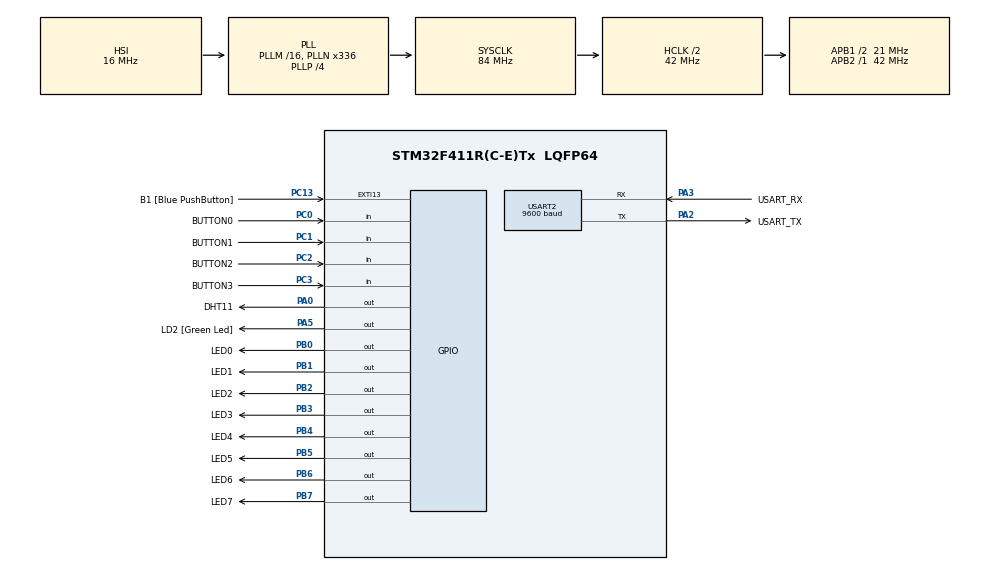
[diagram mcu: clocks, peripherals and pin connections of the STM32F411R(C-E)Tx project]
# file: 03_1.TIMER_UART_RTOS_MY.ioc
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FREERTOS.Tasks01=defaultTask,24,128,StartDefaultTask,Default,NULL,Dynamic,NULL,NULL;myTask01,8,128,StartTask01,Default,NULL,Dynamic,NULL,NULL;myTask02,8,128,StartTask02,Default,NULL,Dynamic,NULL,NULL
FREERTOS.configUSE_NEWLIB_REENTRANT=1
Mcu.Family=STM32F4
Mcu.Name=STM32F411R(C-E)Tx
Mcu.Package=LQFP64
NVIC.PriorityGroup=NVIC_PRIORITYGROUP_4
NVIC.TIM1_TRG_COM_TIM11_IRQn=true\:5\:0\:false\:false\:true\:false\:false\:true
NVIC.TIM1_UP_TIM10_IRQn=true\:5\:0\:false\:false\:true\:true\:true\:true
NVIC.TIM3_IRQn=true\:5\:0\:false\:false\:true\:true\:true\:true
NVIC.TimeBase=TIM1_TRG_COM_TIM11_IRQn
NVIC.TimeBaseIP=TIM11
NVIC.USART2_IRQn=true\:5\:0\:false\:false\:true\:true\:true\:true
PA0-WKUP.GPIO_Label=DHT11
PA0-WKUP.Signal=GPIO_Output
PA13.GPIO_Label=TMS
PA13.Mode=Serial_Wire
PA13.Signal=SYS_JTMS-SWDIO
PA14.GPIO_Label=TCK
PA14.Mode=Serial_Wire
PA14.Signal=SYS_JTCK-SWCLK
PA2.GPIO_Label=USART_TX
PA2.Mode=Asynchronous
PA2.Signal=USART2_TX
PA3.GPIO_Label=USART_RX
PA3.Mode=Asynchronous
PA3.Signal=USART2_RX
PA5.GPIO_Label=LD2 [Green Led]
PA5.Signal=GPIO_Output
PB0.GPIO_Label=LED0
PB0.Signal=GPIO_Output
PB1.GPIO_Label=LED1
PB1.Signal=GPIO_Output
PB2.GPIO_Label=LED2
PB2.Signal=GPIO_Output
PB3.GPIO_Label=LED3
PB3.Signal=GPIO_Output
PB4.GPIO_Label=LED4
PB4.Signal=GPIO_Output
PB5.GPIO_Label=LED5
PB5.Signal=GPIO_Output
PB6.GPIO_Label=LED6
PB6.Signal=GPIO_Output
PB7.GPIO_Label=LED7
PB7.Signal=GPIO_Output
PC0.GPIO_Label=BUTTON0
PC0.Signal=GPIO_Input
PC1.GPIO_Label=BUTTON1
PC1.Signal=GPIO_Input
PC13-ANTI_TAMP.GPIO_Label=B1 [Blue PushButton]
PC13-ANTI_TAMP.GPIO_ModeDefaultEXTI=GPIO_MODE_IT_FALLING
PC13-ANTI_TAMP.Signal=GPXTI13
PC14-OSC32_IN.Mode=LSE-External-Oscillator
PC14-OSC32_IN.Signal=RCC_OSC32_IN
PC15-OSC32_OUT.Mode=LSE-External-Oscillator
PC15-OSC32_OUT.Signal=RCC_OSC32_OUT
PC2.GPIO_Label=BUTTON2
PC2.Signal=GPIO_Input
PC3.GPIO_Label=BUTTON3
PC3.Signal=GPIO_Input
PH0\ -\ OSC_IN.Mode=HSE-External-Clock-Source
PH0\ -\ OSC_IN.Signal=RCC_OSC_IN
PH1\ -\ OSC_OUT.Mode=HSE-External-Clock-Source
PH1\ -\ OSC_OUT.Signal=RCC_OSC_OUT
ProjectManager.HeapSize=0x200
ProjectManager.StackSize=0x400
ProjectManager.TargetToolchain=STM32CubeIDE
RCC.48MHZClocksFreq_Value=84000000
RCC.AHBCLKDivider=RCC_SYSCLK_DIV2
RCC.AHBFreq_Value=42000000
RCC.APB1CLKDivider=RCC_HCLK_DIV2
RCC.APB1Freq_Value=21000000
RCC.APB1TimFreq_Value=42000000
RCC.APB2Freq_Value=42000000
RCC.APB2TimFreq_Value=42000000
RCC.CortexFreq_Value=42000000
RCC.FLatency-AdvancedSettings=FLASH_LATENCY_1
RCC.HCLKFreq_Value=42000000
RCC.HSE_VALUE=8000000
RCC.HSI_VALUE=16000000
RCC.PLLN=336
RCC.PLLP=RCC_PLLP_DIV4
RCC.SYSCLKFreq_VALUE=84000000
RCC.SYSCLKSource=RCC_SYSCLKSOURCE_PLLCLK
RCC.VCOOutputFreq_Value=336000000
TIM10.Period=1000-1
TIM10.Prescaler=84-1
TIM2.Period=4294967295
TIM2.Prescaler=84-1
TIM3.AutoReloadPreload=TIM_AUTORELOAD_PRELOAD_DISABLE
TIM3.Period=10-1
TIM3.Prescaler=42000-1
USART2.BaudRate=9600
USART2.VirtualMode=VM_ASYNC
VP_FREERTOS_VS_CMSIS_V2.Mode=CMSIS_V2
VP_SYS_VS_tim11.Mode=TIM11
VP_TIM10_VS_ClockSourceINT.Mode=Enable_Timer
VP_TIM2_VS_ClockSourceINT.Mode=Internal
VP_TIM3_VS_ClockSourceINT.Mode=Internal
board=NUCLEO-F411RE

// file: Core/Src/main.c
/* USER CODE BEGIN Header */
/**
  ******************************************************************************
  * @file           : main.c
  * @brief          : Main program body
  ******************************************************************************
  * @attention
  *
  * <h2><center>&copy; Copyright (c) 2024 STMicroelectronics.
  * All rights reserved.</center></h2>
  *
  * This software component is licensed by ST under BSD 3-Clause license,
  * the "License"; You may not use this file except in compliance with the
  * License. You may obtain a copy of the License at:
  *                        opensource.org/licenses/BSD-3-Clause
  *
  ******************************************************************************
  */
/* USER CODE END Header */
#include "main.h"
#include "cmsis_os.h"

TIM_HandleTypeDef htim2;
TIM_HandleTypeDef htim3;
TIM_HandleTypeDef htim10;

UART_HandleTypeDef huart2;

/* Definitions for defaultTask */
osThreadId_t defaultTaskHandle;
const osThreadAttr_t defaultTask_attributes = {
  .name = "defaultTask",
  .stack_size = 128 * 4,
  .priority = (osPriority_t) osPriorityNormal,
};
/* Definitions for myTask01 */
osThreadId_t myTask01Handle;
const osThreadAttr_t myTask01_attributes = {
  .name = "myTask01",
  .stack_size = 128 * 4,
  .priority = (osPriority_t) osPriorityLow,
};
/* Definitions for myTask02 */
osThreadId_t myTask02Handle;
const osThreadAttr_t myTask02_attributes = {
  .name = "myTask02",
  .stack_size = 128 * 4,
  .priority = (osPriority_t) osPriorityLow,
};
/* USER CODE BEGIN PV */
volatile int TIM10_1ms_counter = 0; //ADD_HAESUNG_09.30
volatile int TIM10_1ms_counter1 = 0;
volatile int TIM10_DHT11_counter = 0; // 10.08
volatile int TIM3_10ms_counter = 0; //10.16
//volatile unsigned int timer_ms = 0; // 타이머 카운트 변수

uint8_t rx_data;
/* USER CODE END PV */

void SystemClock_Config(void);
static void MX_GPIO_Init(void);
static void MX_USART2_UART_Init(void);
static void MX_TIM10_Init(void);
static void MX_TIM2_Init(void);
static void MX_TIM3_Init(void);
void StartDefaultTask(void *argument);
void StartTask01(void *argument);
void StartTask02(void *argument);

/* USER CODE BEGIN PFP */
extern void led_main(void);
extern void ledbar0_toggle(void);
//extern void button_check(void);
extern void button_up(void);
extern void button0_test(void);
extern void button1_test(void);
extern void button2_test(void);
extern void pc_command_processing(void); //10.07
extern void delay_us(unsigned int us); //10.08
extern void DHT11_main(void); //10.08
extern void DHT11_processing(void); //10.08
extern void DHT11_Init(void);
extern void led_on_down();
/* USER CODE END PFP */

/* USER CODE BEGIN 0 */
//------------ printf start -----------------------
#ifdef __GNUC__    // Add for printf
/* With GCC, small printf (option LD Linker->Libraries->Small printf
   set to 'Yes') calls __io_putchar() */
#define PUTCHAR_PROTOTYPE int __io_putchar(int ch)
#else
#define PUTCHAR_PROTOTYPE int fputc(int ch, FILE *f)
#endif /* __GNUC__ */
/**
  * @brief  Retargets the C library printf function to the USART.
  * @param  None
  * @retval None
  */
PUTCHAR_PROTOTYPE   // Add for printf
{
  /* Place your implementation of fputc here */
  /* e.g. write a character to the USART2 and Loop until the end of transmission */
  HAL_UART_Transmit(&huart2, (uint8_t *)&ch, 1, 0xFFFF);

  return ch;
}
//-------------------- printf end --------------------
/* USER CODE END 0 */

int main(void)
{

  /* MCU Configuration--------------------------------------------------------*/

  /* Reset of all peripherals, Initializes the Flash interface and the Systick. */
  HAL_Init();

  /* Configure the system clock */
  SystemClock_Config();

  /* Initialize all configured peripherals */
  MX_GPIO_Init();
  MX_USART2_UART_Init();
  MX_TIM10_Init();
  MX_TIM2_Init();
  MX_TIM3_Init();
  /* USER CODE BEGIN 2 */
  HAL_TIM_Base_Start_IT(&htim10); //ADD_HAESUNG_0930
  HAL_TIM_Base_Start_IT(&htim2); //ADD_HAESUNG_1008
  HAL_TIM_Base_Start_IT(&htim3); //ADD_HAESUNG_1016
  //HAL_UART_Receive_IT(&huart2, &rx_data, 1); //ADD_HAESUNG_1007
  //DHT11_Init();
  //printf("HAL_TIM_Base_Start_IT !!!!\n");
  //DHT11_main(); //10.08
  //led_main();
  //timer_call_back_function();

  /* USER CODE END 2 */

  /* Init scheduler */
  osKernelInitialize();

  /* Create the thread(s) */
  /* creation of defaultTask */
  defaultTaskHandle = osThreadNew(StartDefaultTask, NULL, &defaultTask_attributes);

  /* creation of myTask01 */
  myTask01Handle = osThreadNew(StartTask01, NULL, &myTask01_attributes);

  /* creation of myTask02 */
  myTask02Handle = osThreadNew(StartTask02, NULL, &myTask02_attributes);

  /* Start scheduler */
  osKernelStart();

  /* We should never get here as control is now taken by the scheduler */
  /* Infinite loop */
  /* USER CODE BEGIN WHILE */
  while (1)
  {
	  // none-OS loop monitor
	  HAL_GPIO_TogglePin(GPIOA, GPIO_PIN_5);
	  HAL_Delay(500);
    /* USER CODE END WHILE */

  }
}

void SystemClock_Config(void)
{
  RCC_OscInitTypeDef RCC_OscInitStruct = {0};
  RCC_ClkInitTypeDef RCC_ClkInitStruct = {0};

  /** Configure the main internal regulator output voltage
  */
  __HAL_RCC_PWR_CLK_ENABLE();
  __HAL_PWR_VOLTAGESCALING_CONFIG(PWR_REGULATOR_VOLTAGE_SCALE1);
  /** Initializes the RCC Oscillators according to the specified parameters
  * in the RCC_OscInitTypeDef structure.
  */
  RCC_OscInitStruct.OscillatorType = RCC_OSCILLATORTYPE_HSI;
  RCC_OscInitStruct.HSIState = RCC_HSI_ON;
  RCC_OscInitStruct.HSICalibrationValue = RCC_HSICALIBRATION_DEFAULT;
  RCC_OscInitStruct.PLL.PLLState = RCC_PLL_ON;
  RCC_OscInitStruct.PLL.PLLSource = RCC_PLLSOURCE_HSI;
  RCC_OscInitStruct.PLL.PLLM = 16;
  RCC_OscInitStruct.PLL.PLLN = 336;
  RCC_OscInitStruct.PLL.PLLP = RCC_PLLP_DIV4;
  RCC_OscInitStruct.PLL.PLLQ = 4;
  if (HAL_RCC_OscConfig(&RCC_OscInitStruct) != HAL_OK)
  {
    Error_Handler();
  }
  /** Initializes the CPU, AHB and APB buses clocks
  */
  RCC_ClkInitStruct.ClockType = RCC_CLOCKTYPE_HCLK|RCC_CLOCKTYPE_SYSCLK
                              |RCC_CLOCKTYPE_PCLK1|RCC_CLOCKTYPE_PCLK2;
  RCC_ClkInitStruct.SYSCLKSource = RCC_SYSCLKSOURCE_PLLCLK;
  RCC_ClkInitStruct.AHBCLKDivider = RCC_SYSCLK_DIV2;
  RCC_ClkInitStruct.APB1CLKDivider = RCC_HCLK_DIV2;
  RCC_ClkInitStruct.APB2CLKDivider = RCC_HCLK_DIV1;

  if (HAL_RCC_ClockConfig(&RCC_ClkInitStruct, FLASH_LATENCY_1) != HAL_OK)
  {
    Error_Handler();
  }
}

static void MX_TIM2_Init(void)
{

  TIM_ClockConfigTypeDef sClockSourceConfig = {0};
  TIM_MasterConfigTypeDef sMasterConfig = {0};

  htim2.Instance = TIM2;
  htim2.Init.Prescaler = 84-1;
  htim2.Init.CounterMode = TIM_COUNTERMODE_UP;
  htim2.Init.Period = 4294967295;
  htim2.Init.ClockDivision = TIM_CLOCKDIVISION_DIV1;
  htim2.Init.AutoReloadPreload = TIM_AUTORELOAD_PRELOAD_DISABLE;
  if (HAL_TIM_Base_Init(&htim2) != HAL_OK)
  {
    Error_Handler();
  }
  sClockSourceConfig.ClockSource = TIM_CLOCKSOURCE_INTERNAL;
  if (HAL_TIM_ConfigClockSource(&htim2, &sClockSourceConfig) != HAL_OK)
  {
    Error_Handler();
  }
  sMasterConfig.MasterOutputTrigger = TIM_TRGO_RESET;
  sMasterConfig.MasterSlaveMode = TIM_MASTERSLAVEMODE_DISABLE;
  if (HAL_TIMEx_MasterConfigSynchronization(&htim2, &sMasterConfig) != HAL_OK)
  {
    Error_Handler();
  }

}

static void MX_TIM3_Init(void)
{

  TIM_ClockConfigTypeDef sClockSourceConfig = {0};
  TIM_MasterConfigTypeDef sMasterConfig = {0};

  htim3.Instance = TIM3;
  htim3.Init.Prescaler = 42000-1;
  htim3.Init.CounterMode = TIM_COUNTERMODE_UP;
  htim3.Init.Period = 10-1;
  htim3.Init.ClockDivision = TIM_CLOCKDIVISION_DIV1;
  htim3.Init.AutoReloadPreload = TIM_AUTORELOAD_PRELOAD_DISABLE;
  if (HAL_TIM_Base_Init(&htim3) != HAL_OK)
  {
    Error_Handler();
  }
  sClockSourceConfig.ClockSource = TIM_CLOCKSOURCE_INTERNAL;
  if (HAL_TIM_ConfigClockSource(&htim3, &sClockSourceConfig) != HAL_OK)
  {
    Error_Handler();
  }
  sMasterConfig.MasterOutputTrigger = TIM_TRGO_RESET;
  sMasterConfig.MasterSlaveMode = TIM_MASTERSLAVEMODE_DISABLE;
  if (HAL_TIMEx_MasterConfigSynchronization(&htim3, &sMasterConfig) != HAL_OK)
  {
    Error_Handler();
  }

}

static void MX_TIM10_Init(void)
{

  htim10.Instance = TIM10;
  htim10.Init.Prescaler = 84-1;
  htim10.Init.CounterMode = TIM_COUNTERMODE_UP;
  htim10.Init.Period = 1000-1;
  htim10.Init.ClockDivision = TIM_CLOCKDIVISION_DIV1;
  htim10.Init.AutoReloadPreload = TIM_AUTORELOAD_PRELOAD_DISABLE;
  if (HAL_TIM_Base_Init(&htim10) != HAL_OK)
  {
    Error_Handler();
  }

}

static void MX_USART2_UART_Init(void)
{

  huart2.Instance = USART2;
  huart2.Init.BaudRate = 9600;
  huart2.Init.WordLength = UART_WORDLENGTH_8B;
  huart2.Init.StopBits = UART_STOPBITS_1;
  huart2.Init.Parity = UART_PARITY_NONE;
  huart2.Init.Mode = UART_MODE_TX_RX;
  huart2.Init.HwFlowCtl = UART_HWCONTROL_NONE;
  huart2.Init.OverSampling = UART_OVERSAMPLING_16;
  if (HAL_UART_Init(&huart2) != HAL_OK)
  {
    Error_Handler();
  }

}

static void MX_GPIO_Init(void)
{
  GPIO_InitTypeDef GPIO_InitStruct = {0};

  /* GPIO Ports Clock Enable */
  __HAL_RCC_GPIOC_CLK_ENABLE();
  __HAL_RCC_GPIOH_CLK_ENABLE();
  __HAL_RCC_GPIOA_CLK_ENABLE();
  __HAL_RCC_GPIOB_CLK_ENABLE();

  /*Configure GPIO pin Output Level */
  HAL_GPIO_WritePin(GPIOA, DHT11_Pin|LD2_Pin, GPIO_PIN_RESET);

  /*Configure GPIO pin Output Level */
  HAL_GPIO_WritePin(GPIOB, LED0_Pin|LED1_Pin|LED2_Pin|LED3_Pin
                          |LED4_Pin|LED5_Pin|LED6_Pin|LED7_Pin, GPIO_PIN_RESET);

  /*Configure GPIO pin : B1_Pin */
  GPIO_InitStruct.Pin = B1_Pin;
  GPIO_InitStruct.Mode = GPIO_MODE_IT_FALLING;
  GPIO_InitStruct.Pull = GPIO_NOPULL;
  HAL_GPIO_Init(B1_GPIO_Port, &GPIO_InitStruct);

  /*Configure GPIO pins : BUTTON0_Pin BUTTON1_Pin BUTTON2_Pin BUTTON3_Pin */
  GPIO_InitStruct.Pin = BUTTON0_Pin|BUTTON1_Pin|BUTTON2_Pin|BUTTON3_Pin;
  GPIO_InitStruct.Mode = GPIO_MODE_INPUT;
  GPIO_InitStruct.Pull = GPIO_NOPULL;
  HAL_GPIO_Init(GPIOC, &GPIO_InitStruct);

  /*Configure GPIO pins : DHT11_Pin LD2_Pin */
  GPIO_InitStruct.Pin = DHT11_Pin|LD2_Pin;
  GPIO_InitStruct.Mode = GPIO_MODE_OUTPUT_PP;
  GPIO_InitStruct.Pull = GPIO_NOPULL;
  GPIO_InitStruct.Speed = GPIO_SPEED_FREQ_LOW;
  HAL_GPIO_Init(GPIOA, &GPIO_InitStruct);

  /*Configure GPIO pins : LED0_Pin LED1_Pin LED2_Pin LED3_Pin
                           LED4_Pin LED5_Pin LED6_Pin LED7_Pin */
  GPIO_InitStruct.Pin = LED0_Pin|LED1_Pin|LED2_Pin|LED3_Pin
                          |LED4_Pin|LED5_Pin|LED6_Pin|LED7_Pin;
  GPIO_InitStruct.Mode = GPIO_MODE_OUTPUT_PP;
  GPIO_InitStruct.Pull = GPIO_NOPULL;
  GPIO_InitStruct.Speed = GPIO_SPEED_FREQ_LOW;
  HAL_GPIO_Init(GPIOB, &GPIO_InitStruct);

}

void StartDefaultTask(void *argument)
{
  /* USER CODE BEGIN 5 */
  /* Infinite loop */
  for(;;)
  {
	//led_main();
	//button0_test();
    osDelay(1);
  }
  /* USER CODE END 5 */
}

void StartTask01(void *argument)
{
  /* USER CODE BEGIN StartTask01 */
  /* Infinite loop */
  for(;;)
  {

	  //DHT11_processing();
	  led_on_down();
	  osDelay(1);
	  //	  HAL_GPIO_TogglePin(GPIOA, GPIO_PIN_5);
	  //	  delay_us(50000); //50ms
	  //button1_test();
	  //ledbar0_toggle();
	  //osDelay(200);
  }
  /* USER CODE END StartTask01 */
}

void StartTask02(void *argument)
{
  /* USER CODE BEGIN StartTask02 */
  /* Infinite loop */
  for(;;)
  {

#if 1
	  if(TIM3_10ms_counter >= 100)
	  {
		  TIM3_10ms_counter = 0 ;
		  HAL_GPIO_TogglePin(GPIOA, GPIO_PIN_5);
	  }
	  //button2_test();
	  //pc_command_processing();
	  osDelay(1);
	  //HAL_GPIO_TogglePin(GPIOA, GPIO_PIN_5);
	  //osDelay(100);
  }
#endif
  /* USER CODE END StartTask02 */
}

void HAL_TIM_PeriodElapsedCallback(TIM_HandleTypeDef *htim)
{
  if (htim->Instance == TIM11) {
    HAL_IncTick();
  }
  /* USER CODE BEGIN Callback 1 */
  if (htim->Instance == TIM10) {
	  TIM10_1ms_counter++; //ADD_HAESUNG_0930
	  TIM10_1ms_counter1++;
	  TIM10_DHT11_counter++;
  }
  if (htim->Instance == TIM3) {
	  TIM3_10ms_counter++; //10.16
	  //timer_ms++;
  }

  /* USER CODE END Callback 1 */
}

void Error_Handler(void)
{
  __disable_irq();
  while (1)
  {
  }
}

/************************ (C) COPYRIGHT STMicroelectronics *****END OF FILE****/
